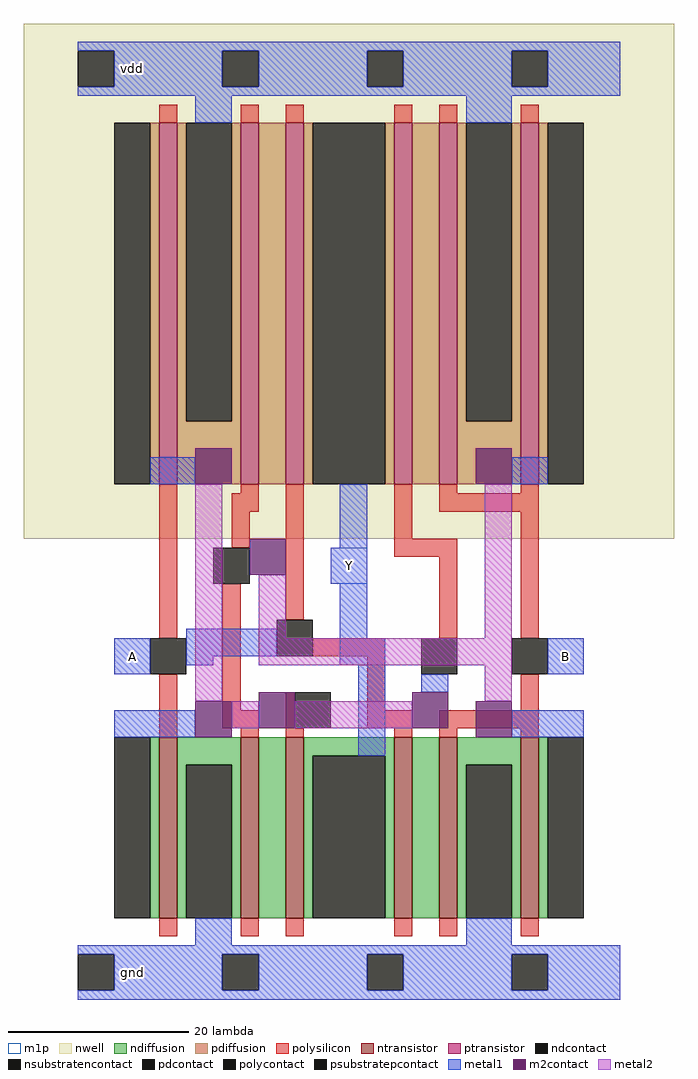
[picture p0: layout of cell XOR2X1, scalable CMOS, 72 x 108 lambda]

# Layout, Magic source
magic
tech scmos
<< nwell >>
rect -8 48 64 105
<< ntransistor >>
rect 7 6 9 26
rect 16 6 18 26
rect 21 6 23 26
rect 33 6 35 26
rect 38 6 40 26
rect 47 6 49 26
<< ptransistor >>
rect 7 54 9 94
rect 16 54 18 94
rect 21 54 23 94
rect 33 54 35 94
rect 38 54 40 94
rect 47 54 49 94
<< ndiffusion >>
rect 6 6 7 26
rect 9 23 16 26
rect 9 6 10 23
rect 15 6 16 23
rect 18 6 21 26
rect 23 24 33 26
rect 23 6 24 24
rect 32 6 33 24
rect 35 6 38 26
rect 40 23 47 26
rect 40 6 41 23
rect 46 6 47 23
rect 49 6 50 26
<< pdiffusion >>
rect 6 54 7 94
rect 9 61 10 94
rect 15 61 16 94
rect 9 54 16 61
rect 18 54 21 94
rect 23 54 24 94
rect 32 54 33 94
rect 35 54 38 94
rect 40 61 41 94
rect 46 61 47 94
rect 40 54 47 61
rect 49 54 50 94
<< ndcontact >>
rect 2 6 6 26
rect 10 6 15 23
rect 24 6 32 24
rect 41 6 46 23
rect 50 6 54 26
<< pdcontact >>
rect 2 54 6 94
rect 10 61 15 94
rect 24 54 32 94
rect 41 61 46 94
rect 50 54 54 94
<< psubstratepcontact >>
rect -2 -2 2 2
rect 14 -2 18 2
rect 30 -2 34 2
rect 46 -2 50 2
<< nsubstratencontact >>
rect -2 98 2 102
rect 14 98 18 102
rect 30 98 34 102
rect 46 98 50 102
<< polysilicon >>
rect 7 94 9 96
rect 16 94 18 96
rect 21 94 23 96
rect 33 94 35 96
rect 38 94 40 96
rect 47 94 49 96
rect 7 37 9 54
rect 16 53 18 54
rect 15 51 18 53
rect 15 47 17 51
rect 7 26 9 33
rect 14 29 16 43
rect 21 39 23 54
rect 33 48 35 54
rect 38 53 40 54
rect 47 53 49 54
rect 38 51 49 53
rect 33 46 40 48
rect 38 37 40 46
rect 47 37 49 51
rect 24 35 32 37
rect 14 27 18 29
rect 16 26 18 27
rect 21 27 22 31
rect 30 29 32 35
rect 47 29 49 33
rect 30 27 35 29
rect 21 26 23 27
rect 33 26 35 27
rect 38 27 49 29
rect 38 26 40 27
rect 47 26 49 27
rect 7 4 9 6
rect 16 4 18 6
rect 21 4 23 6
rect 33 4 35 6
rect 38 4 40 6
rect 47 4 49 6
<< polycontact >>
rect 13 43 17 47
rect 6 33 10 37
rect 20 35 24 39
rect 22 27 26 31
rect 36 33 40 37
rect 46 33 50 37
<< metal1 >>
rect -2 102 58 103
rect 2 98 14 102
rect 18 98 30 102
rect 34 98 46 102
rect 50 98 58 102
rect -2 97 58 98
rect 11 94 15 97
rect 41 94 46 97
rect 6 54 11 57
rect 46 54 50 57
rect 27 47 30 54
rect 26 43 30 47
rect 2 33 6 37
rect 10 35 20 38
rect 27 37 30 43
rect 10 34 13 35
rect 27 34 32 37
rect 2 26 11 29
rect 29 24 32 34
rect 50 33 54 37
rect 36 31 39 33
rect 46 26 54 29
rect 11 3 15 6
rect 41 3 46 6
rect -2 2 58 3
rect 2 -2 14 2
rect 18 -2 30 2
rect 34 -2 46 2
rect 50 -2 58 2
rect -2 -3 58 -2
<< m2contact >>
rect 11 54 15 58
rect 42 54 46 58
rect 17 44 21 48
rect 11 26 15 30
rect 18 27 22 31
rect 35 27 39 31
rect 42 26 46 30
<< metal2 >>
rect 11 30 14 54
rect 18 37 21 44
rect 43 37 46 54
rect 18 34 46 37
rect 15 27 18 30
rect 22 27 35 30
rect 43 30 46 34
<< m1p >>
rect 26 43 30 47
rect 2 33 6 37
rect 50 33 54 37
<< labels >>
rlabel m1p 28 45 28 45 6 Y
rlabel metal1 4 100 4 100 6 vdd
rlabel m1p 52 35 52 35 6 B
rlabel m1p 4 35 4 35 6 A
rlabel metal1 4 0 4 0 8 gnd
<< end >>
